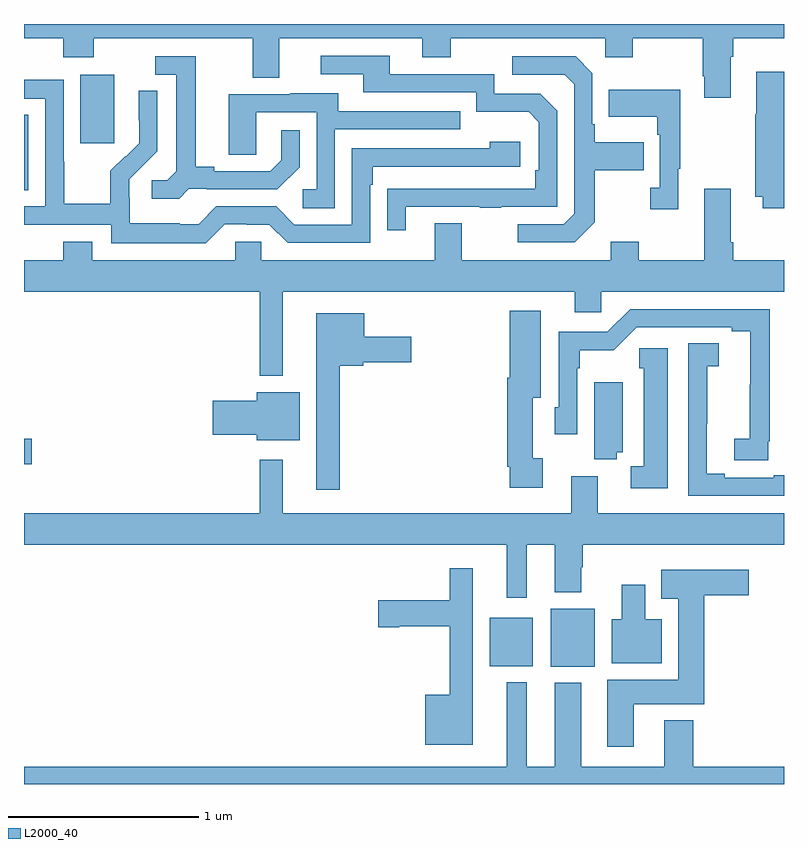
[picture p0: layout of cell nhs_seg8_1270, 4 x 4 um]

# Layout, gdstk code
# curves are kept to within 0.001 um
import gdstk
lib = gdstk.Library(unit=1e-6, precision=1e-09)
def R(c, l, rs):  # rectangles x0, y0, x1, y1
    for r in rs: c.add(gdstk.rectangle(r[:2], r[2:], *l))
def P(c, l, *ps):  # polygons
    for p in ps: c.add(gdstk.Polygon(p, *l))
L2000_40 = (2000, 40)

nhs_seg8_1270 = lib.new_cell('nhs_seg8_1270')
R(nhs_seg8_1270, L2000_40, [(193.772,1122.518,194.005,1122.823), (193.451,1122.521,193.678,1122.775), (191,1123.583,191.041,1123.718), (191,1125.025,191.023,1125.422), (191.297,1125.273,191.476,1125.634)])
P(nhs_seg8_1270, L2000_40, [(194.719,1125.728),(194.732,1125.728),(194.732,1125.824),(195,1125.824),(195,1125.9),(191,1125.9),(191,1125.824),(191.207,1125.824),(191.207,1125.725),(191.367,1125.725),(191.367,1125.824),(192.203,1125.824),(192.203,1125.616),(192.343,1125.616),(192.343,1125.824),(193.097,1125.824),(193.097,1125.725),(193.245,1125.725),(193.245,1125.824),(194.058,1125.824),(194.058,1125.725),(194.205,1125.725),(194.205,1125.824),(194.572,1125.824),(194.572,1125.625),(194.579,1125.625),(194.579,1125.513),(194.719,1125.513)],
  [(193.009,1124.937),(193.399,1124.937),(193.399,1124.932),(193.511,1124.932),(193.511,1124.937),(193.806,1124.937),(193.806,1125.444),(193.716,1125.534),(193.476,1125.534),(193.476,1125.636),(192.925,1125.636),(192.925,1125.732),(192.561,1125.732),(192.561,1125.636),(192.785,1125.636),(192.785,1125.54),(193.38,1125.54),(193.38,1125.437),(193.657,1125.437),(193.71,1125.384),(193.71,1125.13),(193.69,1125.13),(193.69,1125.033),(192.913,1125.032),(192.913,1124.814),(193.009,1124.814)],
  [(194.005,1124.857),(194.005,1125.13),(194.261,1125.13),(194.261,1125.277),(194.005,1125.277),(194.005,1125.373),(193.992,1125.373),(193.992,1125.642),(193.905,1125.729),(193.569,1125.729),(193.569,1125.633),(193.845,1125.633),(193.896,1125.582),(193.896,1124.901),(193.842,1124.847),(193.599,1124.847),(193.599,1124.751),(193.899,1124.751)],
  [(191.868,1125.033),(191.962,1125.033),(191.962,1125.03),(192.334,1125.03),(192.45,1125.146),(192.45,1125.34),(192.353,1125.34),(192.353,1125.183),(192.296,1125.126),(192.001,1125.126),(192.001,1125.149),(191.905,1125.149),(191.905,1125.729),(191.691,1125.729),(191.691,1125.633),(191.801,1125.633),(191.801,1125.125),(191.754,1125.078),(191.673,1125.078),(191.673,1124.981),(191.816,1124.981)],
  [(195,1125.649),(194.855,1125.649),(194.855,1125.425),(194.848,1125.425),(194.848,1124.99),(194.888,1124.99),(194.888,1124.931),(195,1124.931)],
  [(192.057,1124.847),(192.173,1124.847),(192.173,1124.844),(192.291,1124.844),(192.387,1124.748),(192.822,1124.748),(192.822,1125.053),(192.835,1125.053),(192.835,1125.15),(193.612,1125.15),(193.612,1125.28),(193.451,1125.28),(193.451,1125.246),(192.726,1125.246),(192.726,1124.844),(192.423,1124.844),(192.327,1124.94),(192.012,1124.94),(191.919,1124.847),(191.819,1124.847),(191.819,1124.851),(191.556,1124.851),(191.556,1124.985),(191.554,1124.985),(191.554,1125.082),(191.7,1125.23),(191.7,1125.548),(191.604,1125.548),(191.604,1125.394),(191.606,1125.394),(191.606,1125.272),(191.535,1125.201),(191.532,1125.204),(191.455,1125.127),(191.455,1124.953),(191.211,1124.953),(191.211,1125.176),(191.208,1125.176),(191.208,1125.606),(191,1125.606),(191,1125.507),(191.112,1125.507),(191.112,1124.94),(191,1124.94),(191,1124.844),(191.46,1124.844),(191.46,1124.747),(191.957,1124.747)],
  [(194.443,1125.137),(194.455,1125.137),(194.455,1125.553),(194.077,1125.553),(194.077,1125.413),(194.334,1125.413),(194.334,1125.317),(194.346,1125.317),(194.346,1125.038),(194.295,1125.038),(194.295,1124.925),(194.443,1124.925)],
  [(192.636,1125.345),(193.295,1125.345),(193.295,1125.441),(192.655,1125.441),(192.655,1125.535),(192.401,1125.535),(192.401,1125.531),(192.077,1125.531),(192.077,1125.211),(192.222,1125.211),(192.222,1125.435),(192.54,1125.435),(192.54,1125.03),(192.468,1125.03),(192.468,1124.929),(192.636,1124.929)],
  [(192.361,1124.492),(193.898,1124.492),(193.898,1124.382),(194.037,1124.382),(194.037,1124.492),(195,1124.492),(195,1124.656),(194.732,1124.656),(194.732,1124.752),(194.719,1124.752),(194.719,1125.034),(194.579,1125.034),(194.579,1124.656),(194.235,1124.656),(194.235,1124.755),(194.087,1124.755),(194.087,1124.656),(193.303,1124.656),(193.303,1124.851),(193.163,1124.851),(193.163,1124.656),(192.249,1124.656),(192.249,1124.754),(192.111,1124.754),(192.111,1124.656),(191.359,1124.656),(191.359,1124.755),(191.207,1124.755),(191.207,1124.656),(191,1124.656),(191,1124.492),(192.24,1124.492),(192.24,1124.048),(192.361,1124.048)],
  [(194.918,1123.705),(194.924,1123.705),(194.924,1124.4),(194.19,1124.4),(194.07,1124.28),(193.815,1124.28),(193.815,1123.884),(193.794,1123.884),(193.794,1123.74),(193.911,1123.74),(193.911,1124.087),(193.924,1124.087),(193.924,1124.183),(194.105,1124.183),(194.226,1124.304),(194.726,1124.304),(194.726,1124.284),(194.822,1124.284),(194.821,1123.718),(194.739,1123.718),(194.739,1123.603),(194.918,1123.603)],
  [(193.729,1123.614),(193.678,1123.614),(193.678,1123.934),(193.72,1123.934),(193.72,1124.392),(193.556,1124.392),(193.556,1124.038),(193.544,1124.038),(193.544,1123.57),(193.556,1123.57),(193.556,1123.458),(193.729,1123.458)],
  [(192.661,1124.102),(192.786,1124.102),(192.786,1124.12),(193.039,1124.12),(193.039,1124.254),(192.79,1124.254),(192.79,1124.377),(192.539,1124.377),(192.539,1123.449),(192.661,1123.449)],
  [(195,1123.526),(194.945,1123.526),(194.945,1123.512),(194.689,1123.512),(194.689,1123.532),(194.593,1123.532),(194.593,1123.795),(194.595,1123.795),(194.595,1124.099),(194.656,1124.099),(194.656,1124.219),(194.496,1124.219),(194.496,1123.416),(195,1123.416)],
  [(194.389,1124.194),(194.239,1124.194),(194.239,1124.088),(194.261,1124.088),(194.261,1123.572),(194.193,1123.572),(194.193,1123.457),(194.389,1123.457)],
  [(194.12,1123.646),(194.152,1123.646),(194.152,1124.014),(194,1124.014),(194,1123.609),(194.12,1123.609)],
  [(192.451,1123.963),(192.224,1123.963),(192.224,1123.916),(191.994,1123.916),(191.994,1123.738),(192.224,1123.738),(192.224,1123.709),(192.451,1123.709)],
  [(193.645,1123.16),(193.793,1123.16),(193.793,1122.908),(193.933,1122.908),(193.933,1123.04),(193.941,1123.04),(193.941,1123.16),(195,1123.16),(195,1123.324),(194.02,1123.324),(194.02,1123.519),(193.88,1123.519),(193.88,1123.324),(192.361,1123.324),(192.361,1123.606),(192.24,1123.606),(192.24,1123.324),(191,1123.324),(191,1123.16),(193.541,1123.16),(193.541,1122.879),(193.645,1122.879)],
  [(193.363,1123.036),(193.242,1123.036),(193.242,1122.867),(192.864,1122.867),(192.864,1122.725),(192.976,1122.725),(192.976,1122.73),(193.242,1122.73),(193.242,1122.37),(193.112,1122.37),(193.112,1122.107),(193.363,1122.107)],
  [(194.209,1122.32),(194.579,1122.32),(194.579,1122.893),(194.815,1122.893),(194.815,1123.027),(194.354,1123.027),(194.354,1122.875),(194.444,1122.875),(194.444,1122.448),(194.069,1122.448),(194.069,1122.096),(194.209,1122.096)],
  [(194.356,1122.766),(194.269,1122.766),(194.269,1122.949),(194.147,1122.949),(194.147,1122.766),(194.093,1122.766),(194.093,1122.536),(194.356,1122.536)],
  [(195,1121.992),(194.522,1121.992),(194.522,1122.235),(194.369,1122.235),(194.369,1121.992),(193.933,1121.992),(193.933,1122.433),(193.793,1122.433),(193.793,1121.992),(193.645,1121.992),(193.645,1122.436),(193.541,1122.436),(193.541,1121.992),(191,1121.992),(191,1121.9),(195,1121.9)])

lib.write_gds('nhs_seg8_1270.gds')
